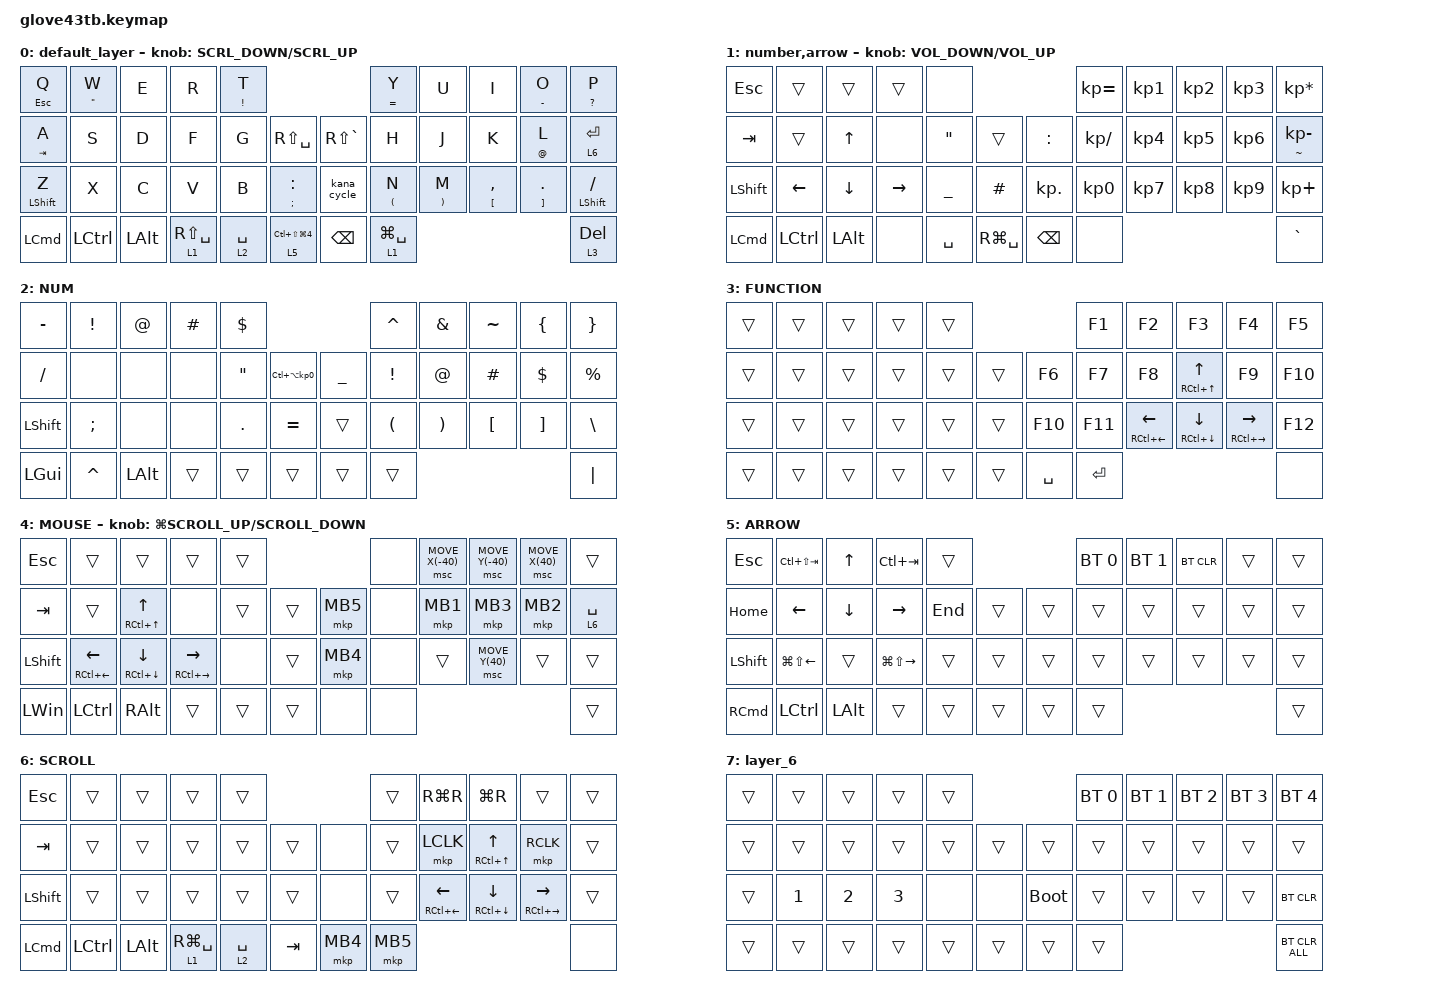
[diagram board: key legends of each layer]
// スクロールの「速さ」であって1目盛りあたりの量ではない。
// ダイヤル1刻みで tap-ms=20 だけ実行され、先頭 delay-ms=3 は待機なので
// 実際に動く量 = この値 x 17 / 1000（端数は切り捨て）。
//   実測 150 -> 2.5 = 2目盛り（動きすぎ）
//        50  -> 0.9 = 0目盛り（全く動かない）
// ホイール1目盛りを出せるのは 60〜117。100 なら 1.7 で余裕がある。
#define ZMK_POINTING_DEFAULT_SCRL_VAL 100

#include <behaviors/rgbled_widget.dtsi>
#include <dt-bindings/zmk/input_transform.h>
#include <input/processors.dtsi>
#include <zephyr/dt-bindings/input/input-event-codes.h>
#include <behaviors.dtsi>
#include <dt-bindings/zmk/bt.h>
#include <dt-bindings/zmk/keys.h>
#include <dt-bindings/zmk/pointing.h>

&mt {
    flavor = "balanced";
    quick-tap-ms = <0>;
};

&trackball {
    // arrows {
    //     layers = <3>;
    //     bindings =
    //         <&kp RIGHT_ARROW>,
    //         <&kp LEFT_ARROW>,
    //         <&kp UP_ARROW>,
    //         <&kp DOWN_ARROW>;
    //     tick = <10>;
    //     wait-ms = <5>;
    //     tap-ms = <5>;
    // };
};

&mmv {
    delay-ms = <20>;
    trigger-period-ms = <5>;
    time-to-max-speed-ms = <100>;
    acceleration-exponent = <2>;
};

&msc {
    delay-ms = <3>;
    trigger-period-ms = <3>;
    time-to-max-speed-ms = <100>;
    acceleration-exponent = <0>;
};

/ {
    input_processors {
        zip_wheel_scaler: zip_wheel_scaler {
            compatible = "zmk,input-processor-scaler";
            #input-processor-cells = <2>;
            type = <INPUT_EV_REL>;
            codes = <INPUT_REL_WHEEL>;
            track-remainders;
        };
    };
};

/ {
    combos {
        compatible = "zmk,combos";

        tab {
            bindings = <&kp TAB>;
            key-positions = <11 12>;
        };

        shift_tab {
            bindings = <&kp LS(TAB)>;
            key-positions = <12 13>;
        };

        muhennkann {
            bindings = <&to_layer_0 LG(SPACE)>;
            key-positions = <11 10>;
        };

        double_quotation {
            bindings = <&kp DOUBLE_QUOTES>;
            key-positions = <20 21>;
        };

        eq {
            bindings = <&kp EQUAL>;
            key-positions = <24 25>;
        };
    };

    macros {
        to_layer_0: to_layer_0 {
            compatible = "zmk,behavior-macro-one-param";
            #binding-cells = <1>;
            bindings = <&to 0 &macro_param_1to1 &kp MACRO_PLACEHOLDER>;
            label = "TO_LAYER_0";
        };
    };

    behaviors {
        lt_to_layer_0: lt_to_layer_0 {
            compatible = "zmk,behavior-hold-tap";
            label = "LAYER_TAP_TO_0";
            bindings = <&mo>, <&to_layer_0>;

            #binding-cells = <2>;
            tapping-term-ms = <200>;
        };

        // 無変換相当: タップ回数で変換先を選ぶ
        // 1回=ひらがな(F6) 2回=半角英数(F10) 3回=カタカナ(F7) 4回=半角カタカナ(F8)
        kana_cycle: kana_cycle {
            compatible = "zmk,behavior-tap-dance";
            label = "KANA_CYCLE";
            #binding-cells = <0>;
            tapping-term-ms = <250>;
            bindings = <&kp F6>, <&kp F10>, <&kp F7>, <&kp F8>;
        };

        sensor_rotate_kp: sensor_rotate_kp {
            compatible = "zmk,behavior-sensor-rotate-var";
            #sensor-binding-cells = <2>;
            bindings = <&kp>, <&kp>;
        };

        mouse_wheel_scroll: mouse_wheel_scroll {
            compatible = "zmk,behavior-sensor-rotate-var";
            #sensor-binding-cells = <2>;
            bindings = <&msc>, <&msc>;

            tap-ms = <20>;
        };
    };

    keymap {
        compatible = "zmk,keymap";

        default_layer {
            bindings = <
&mt ESC Q         &mt DQT W         &kp E         &kp R                       &mt EXCL T                                                                   &mt EQUAL Y             &kp U                    &kp I                   &mt MINUS O            &mt QUESTION P
&mt TAB A         &kp S             &kp D         &kp F                       &kp G        &kp RS(SPACE)                              &kp RS(GRAVE)        &kp H                   &kp J                    &kp K                   &mt AT L               &lt 6 ENTER
&mt LEFT_SHIFT Z  &kp X             &kp C         &kp V                       &kp B        &mt SEMI COLON                             &kana_cycle          &mt LEFT_PARENTHESIS N  &mt RIGHT_PARENTHESIS M  &mt LEFT_BRACKET COMMA  &mt RIGHT_BRACKET DOT  &mt LEFT_SHIFT SLASH
&kp LEFT_COMMAND  &kp LEFT_CONTROL  &kp LEFT_ALT  &lt 1 RS(SPACE)             &lt 2 SPACE  &lt_to_layer_0 5 LC(LS(LG(NUMBER_4)))      &kp BACKSPACE        &lt 1 LG(SPACE)                                                                             &lt 3 DELETE
            >;

            sensor-bindings = <&mouse_wheel_scroll SCRL_DOWN SCRL_UP>;
        };

        number,arrow {
            bindings = <
&kp ESC           &trans            &trans          &trans           &none                                             &kp KP_EQUAL  &kp KP_N1  &kp KP_N2  &kp KP_N3  &kp KP_ASTERISK
&kp TAB           &trans            &kp UP_ARROW    &none            &kp DQT         &trans             &kp COLON      &kp KP_SLASH  &kp KP_N4  &kp KP_N5  &kp KP_N6  &mt TILDE KP_MINUS
&kp LEFT_SHIFT    &kp LEFT_ARROW    &kp DOWN_ARROW  &kp RIGHT_ARROW  &kp UNDERSCORE  &kp HASH           &kp KP_DOT     &kp KP_N0     &kp KP_N7  &kp KP_N8  &kp KP_N9  &kp KP_PLUS
&kp LEFT_COMMAND  &kp LEFT_CONTROL  &kp LEFT_ALT    &none            &kp SPACE       &kp RG(SPACE)      &kp BACKSPACE  &none                                          &kp GRAVE
            >;

            sensor-bindings = <&sensor_rotate_kp C_VOLUME_DOWN C_VOLUME_UP>;
        };

        NUM {
            bindings = <
&kp MINUS       &kp EXCL   &kp AT        &kp HASH  &kp DLLR                                                 &kp CARET             &kp AMPERSAND          &kp TILDE         &kp LEFT_BRACE     &kp RIGHT_BRACE
&kp SLASH       &none      &none         &none     &kp DQT     &kp LC(LA(KP_NUMBER_0))      &kp UNDERSCORE  &kp EXCLAMATION       &kp AT_SIGN            &kp HASH          &kp DOLLAR         &kp PERCENT
&kp LEFT_SHIFT  &kp SEMI   &none         &none     &kp PERIOD  &kp EQUAL                    &trans          &kp LEFT_PARENTHESIS  &kp RIGHT_PARENTHESIS  &kp LEFT_BRACKET  &kp RIGHT_BRACKET  &kp BACKSLASH
&kp LEFT_GUI    &kp CARET  &kp LEFT_ALT  &trans    &trans      &trans                       &trans          &trans                                                                            &kp PIPE
            >;
        };

        FUNCTION {
            bindings = <
&trans  &trans  &trans  &trans  &trans                         &kp F1     &kp F2                         &kp F3                         &kp F4                           &kp F5
&trans  &trans  &trans  &trans  &trans  &trans      &kp F6     &kp F7     &kp F8                         &mt RC(UP_ARROW) UP_ARROW      &kp F9                           &kp F10
&trans  &trans  &trans  &trans  &trans  &trans      &kp F10    &kp F11    &mt RC(LEFT_ARROW) LEFT_ARROW  &mt RC(DOWN_ARROW) DOWN_ARROW  &mt RC(RIGHT_ARROW) RIGHT_ARROW  &kp F12
&trans  &trans  &trans  &trans  &trans  &trans      &kp SPACE  &kp ENTER                                                                                                 &none
            >;
        };

        MOUSE {
            bindings = <
&kp ESC         &trans                         &trans                         &trans                           &trans                        &none  &msc MOVE_X(-40)  &msc MOVE_Y(-40)  &msc MOVE_X(40)  &trans
&kp TAB         &trans                         &mt RC(UP_ARROW) UP_ARROW      &none                            &trans  &trans      &mkp MB5  &none  &mkp MB1          &mkp MB3          &mkp MB2         &lt 6 SPACE
&kp LEFT_SHIFT  &mt RC(LEFT_ARROW) LEFT_ARROW  &mt RC(DOWN_ARROW) DOWN_ARROW  &mt RC(RIGHT_ARROW) RIGHT_ARROW  &none   &trans      &mkp MB4  &none  &trans            &msc MOVE_Y(40)   &trans           &trans
&kp LWIN        &kp LEFT_CONTROL               &kp RIGHT_ALT                  &trans                           &trans  &trans      &none     &none                                                       &trans
            >;

            sensor-bindings = <&inc_dec_kp LG(K_SCROLL_UP) K_SCROLL_DOWN>;
        };

        ARROW {
            bindings = <
&kp ESCAPE         &kp LC(LS(TAB))         &kp UP_ARROW    &kp LC(TAB)              &trans                       &bt BT_SEL 0  &bt BT_SEL 1  &bt BT_CLR  &trans  &trans
&kp HOME           &kp LEFT_ARROW          &kp DOWN_ARROW  &kp RIGHT_ARROW          &kp END  &trans      &trans  &trans  &trans  &trans  &trans  &trans
&kp LEFT_SHIFT     &kp LG(LS(LEFT_ARROW))  &trans          &kp LG(LS(RIGHT_ARROW))  &trans   &trans      &trans  &trans  &trans  &trans  &trans  &trans
&kp RIGHT_COMMAND  &kp LEFT_CONTROL        &kp LEFT_ALT    &trans                   &trans   &trans      &trans  &trans                          &trans
            >;
        };

        SCROLL {
            bindings = <
&kp ESC           &trans            &trans        &trans           &trans                              &trans    &kp RG(R)                      &kp LG(R)                      &trans                           &trans
&kp TAB           &trans            &trans        &trans           &trans       &trans       &none     &trans    &mkp LCLK                      &mt RC(UP_ARROW) UP_ARROW      &mkp RCLK                        &trans
&kp LEFT_SHIFT    &trans            &trans        &trans           &trans       &trans       &none     &trans    &mt RC(LEFT_ARROW) LEFT_ARROW  &mt RC(DOWN_ARROW) DOWN_ARROW  &mt RC(RIGHT_ARROW) RIGHT_ARROW  &trans
&kp LEFT_COMMAND  &kp LEFT_CONTROL  &kp LEFT_ALT  &lt 1 RG(SPACE)  &lt 2 SPACE  &kp TAB      &mkp MB4  &mkp MB5                                                                                                 &none
            >;
        };

        layer_6 {
            bindings = <
&trans  &trans        &trans        &trans        &trans                           &bt BT_SEL 0  &bt BT_SEL 1  &bt BT_SEL 2  &bt BT_SEL 3  &bt BT_SEL 4
&trans  &trans        &trans        &trans        &trans  &trans      &trans       &trans        &trans        &trans        &trans        &trans
&trans  &kp NUMBER_1  &kp NUMBER_2  &kp NUMBER_3  &none   &none       &bootloader  &trans        &trans        &trans        &trans        &bt BT_CLR
&trans  &trans        &trans        &trans        &trans  &trans      &trans       &trans                                                  &bt BT_CLR_ALL
            >;
        };
    };
};
